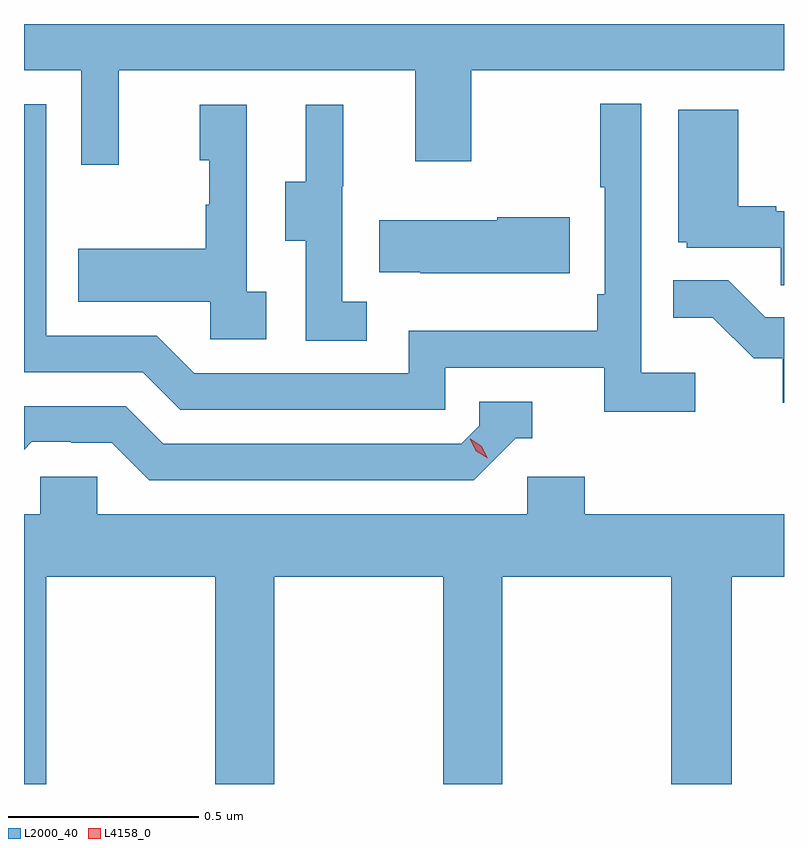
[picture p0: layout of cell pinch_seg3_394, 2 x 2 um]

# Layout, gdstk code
import gdstk
lib = gdstk.Library(unit=1e-6, precision=1e-09)
def P(c, l, *ps):  # polygons
    for p in ps: c.add(gdstk.Polygon(p, *l))
L2000_40 = (2000, 40)
L4158_0 = (4158, 0)

pinch_seg3_394 = lib.new_cell('pinch_seg3_394')
P(pinch_seg3_394, L2000_40, [(960.629,688.928),(961.409,688.928),(961.409,688.689),(961.557,688.689),(961.557,688.928),(962.38,688.928),(962.38,689.05),(960.38,689.05),(960.38,688.928),(960.531,688.928),(960.531,688.68),(960.629,688.68)],
  [(962.146,688.132),(962.004,688.132),(962.004,688.84),(961.896,688.84),(961.896,688.621),(961.908,688.621),(961.908,688.339),(961.888,688.339),(961.888,688.243),(961.392,688.243),(961.392,688.131),(960.828,688.131),(960.729,688.23),(960.438,688.23),(960.438,688.839),(960.38,688.839),(960.38,688.134),(960.692,688.134),(960.791,688.035),(961.488,688.035),(961.488,688.146),(961.907,688.146),(961.907,688.03),(962.146,688.03)],
  [(961.282,688.319),(961.218,688.319),(961.218,688.623),(961.22,688.623),(961.22,688.837),(961.121,688.837),(961.121,688.635),(961.067,688.635),(961.067,688.48),(961.122,688.48),(961.122,688.216),(961.282,688.216)],
  [(961.018,688.346),(960.966,688.346),(960.966,688.837),(960.842,688.837),(960.842,688.692),(960.868,688.692),(960.868,688.574),(960.858,688.574),(960.858,688.459),(960.523,688.459),(960.523,688.319),(960.87,688.319),(960.87,688.221),(961.018,688.221)],
  [(962.38,688.557),(962.36,688.557),(962.36,688.57),(962.26,688.57),(962.26,688.825),(962.102,688.825),(962.102,688.476),(962.124,688.476),(962.124,688.461),(962.371,688.461),(962.371,688.363),(962.38,688.363)],
  [(961.816,688.542),(961.625,688.542),(961.625,688.534),(961.315,688.534),(961.315,688.397),(961.423,688.397),(961.423,688.394),(961.816,688.394)],
  [(962.38,688.278),(962.331,688.278),(962.233,688.376),(962.089,688.376),(962.089,688.277),(962.193,688.277),(962.3,688.17),(962.377,688.17),(962.377,688.053),(962.38,688.053)],
  [(961.674,687.96),(961.717,687.96),(961.717,688.056),(961.578,688.056),(961.578,687.993),(961.53,687.945),(960.747,687.945),(960.648,688.044),(960.38,688.044),(960.38,687.93),(960.401,687.951),(960.504,687.951),(960.504,687.948),(960.611,687.948),(960.71,687.849),(961.563,687.849)],
  [(960.438,687.596),(960.883,687.596),(960.883,687.05),(961.038,687.05),(961.038,687.596),(961.483,687.596),(961.483,687.05),(961.638,687.05),(961.638,687.596),(962.083,687.596),(962.083,687.05),(962.243,687.05),(962.243,687.596),(962.38,687.596),(962.38,687.76),(961.856,687.76),(961.856,687.858),(961.704,687.858),(961.704,687.76),(960.573,687.76),(960.573,687.858),(960.423,687.858),(960.423,687.76),(960.38,687.76),(960.38,687.05),(960.438,687.05)])
P(pinch_seg3_394, L4158_0, [(961.601,687.907),(961.57,687.926),(961.553,687.958),(961.553,687.958),(961.554,687.958),(961.584,687.939),(961.601,687.907),(961.601,687.907)])

lib.write_gds('pinch_seg3_394.gds')
